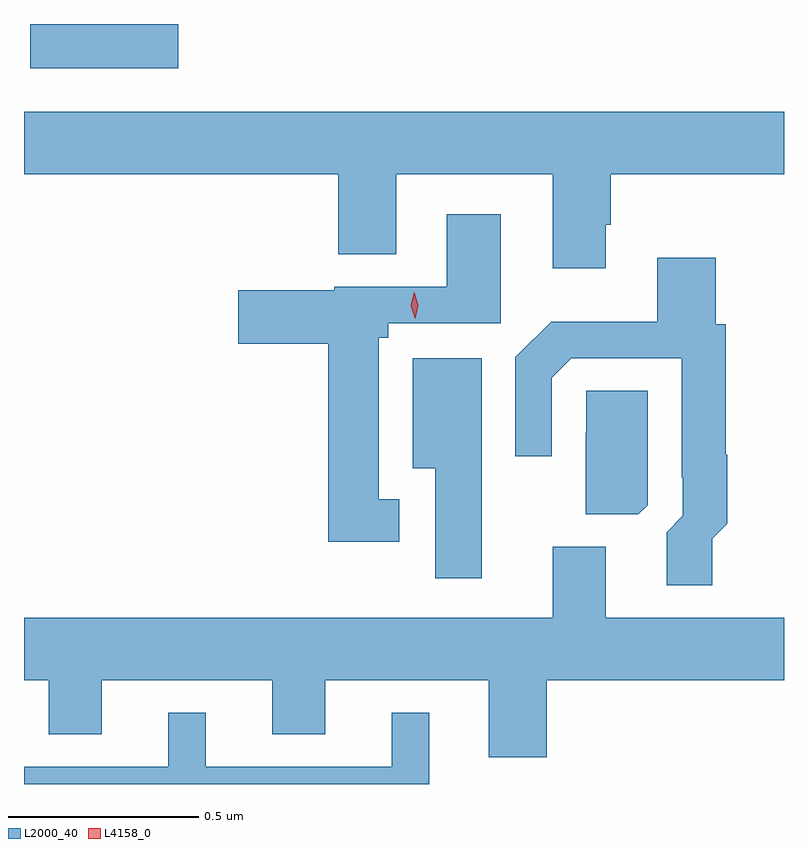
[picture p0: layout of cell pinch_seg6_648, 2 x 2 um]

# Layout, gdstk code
import gdstk
lib = gdstk.Library(unit=1e-6, precision=1e-09)
def R(c, l, rs):  # rectangles x0, y0, x1, y1
    for r in rs: c.add(gdstk.rectangle(r[:2], r[2:], *l))
def P(c, l, *ps):  # polygons
    for p in ps: c.add(gdstk.Polygon(p, *l))
L2000_40 = (2000, 40)
L4158_0 = (4158, 0)

pinch_seg6_648 = lib.new_cell('pinch_seg6_648')
R(pinch_seg6_648, L2000_40, [(399.221,964.931,399.61,965.047)])
P(pinch_seg6_648, L2000_40, [(400.735,964.519),(400.748,964.519),(400.748,964.652),(401.204,964.652),(401.204,964.816),(399.204,964.816),(399.204,964.652),(400.031,964.652),(400.031,964.441),(400.183,964.441),(400.183,964.652),(400.595,964.652),(400.595,964.404),(400.735,964.404)],
  [(400.192,963.797),(400.138,963.797),(400.138,964.221),(400.163,964.221),(400.163,964.26),(400.459,964.26),(400.459,964.546),(400.316,964.546),(400.316,964.356),(400.02,964.356),(400.02,964.347),(399.768,964.347),(399.768,964.205),(400.004,964.205),(400.004,963.684),(400.192,963.684)],
  [(401.015,963.693),(401.054,963.732),(401.054,963.914),(401.051,963.914),(401.051,964.257),(401.024,964.257),(401.024,964.432),(400.871,964.432),(400.871,964.264),(400.591,964.264),(400.497,964.17),(400.497,963.909),(400.593,963.909),(400.593,964.116),(400.644,964.167),(400.935,964.167),(400.935,963.853),(400.938,963.853),(400.938,963.753),(400.895,963.71),(400.895,963.57),(401.015,963.57)],
  [(400.408,964.168),(400.227,964.168),(400.227,963.878),(400.286,963.878),(400.286,963.588),(400.408,963.588)],
  [(400.845,963.78),(400.845,964.082),(400.683,964.082),(400.683,963.971),(400.682,963.971),(400.682,963.757),(400.821,963.757)],
  [(400.58,963.32),(401.204,963.32),(401.204,963.484),(400.735,963.484),(400.735,963.672),(400.595,963.672),(400.595,963.484),(399.204,963.484),(399.204,963.32),(399.269,963.32),(399.269,963.178),(399.409,963.178),(399.409,963.32),(399.857,963.32),(399.857,963.178),(399.997,963.178),(399.997,963.32),(400.427,963.32),(400.427,963.118),(400.58,963.118)],
  [(400.27,963.235),(400.172,963.235),(400.172,963.093),(399.682,963.093),(399.682,963.235),(399.584,963.235),(399.584,963.093),(399.204,963.093),(399.204,963.047),(400.27,963.047)])
P(pinch_seg6_648, L4158_0, [(400.233,964.271),(400.233,964.272),(400.222,964.306),(400.231,964.341),(400.231,964.342),(400.231,964.341),(400.242,964.307),(400.233,964.272)])

lib.write_gds('pinch_seg6_648.gds')
